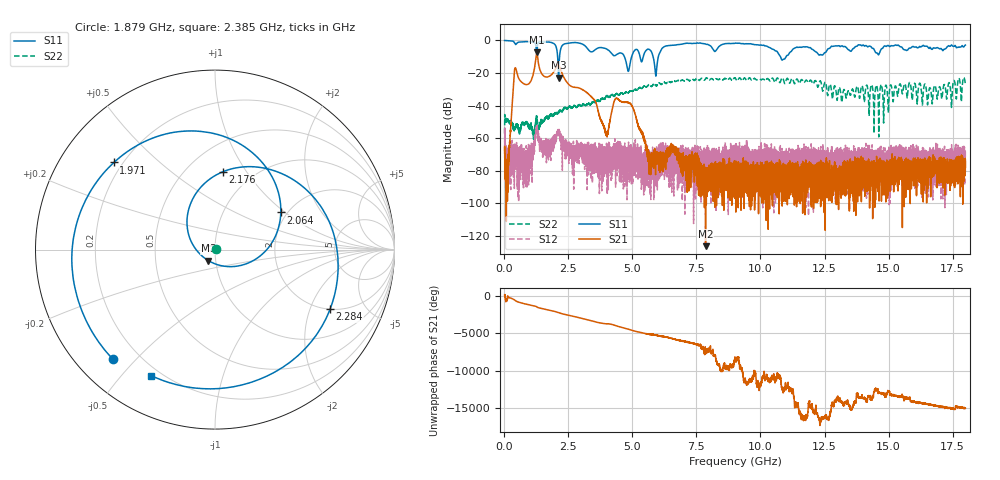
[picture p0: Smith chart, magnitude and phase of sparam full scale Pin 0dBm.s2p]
!Keysight Technologies,N5242B,US61255121,A.15.50.07
!Date: Wednesday, October 01, 2025 17:13:27
!Correction: S11(Cdelta 2-Port  )
!S21(Cdelta 2-Port  )
!S12(Cdelta 2-Port  )
!S22(Cdelta 2-Port  )
!S2P File: Measurements: S11, S21, S12, S22:
# Hz S  dB  R 50
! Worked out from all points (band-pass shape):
!   10001 points, 10 MHz to 18 GHz, reference 50 ohm
!   highest |S21| = -7.46 dB at 1.275 GHz (marker M1); lowest = -126.2 dB at 7.855 GHz (marker M2)
!   |S21| within 3 dB of the highest: 1.237 GHz to 1.3 GHz (63.29 MHz wide, 4.99 % of centre)
!   lowest |S11| = -22.9 dB at 2.117 GHz (marker M3), VSWR 1.15, Z = 46.1 - j5.65 ohm
!   |S11| at or under -10 dB: 4.686 GHz to 4.972 GHz (285.9 MHz wide, 5.92 % of centre); 5.806 GHz to 6.013 GHz (206.6 MHz wide, 3.5 % of centre); 10.78 GHz to 11 GHz (217.5 MHz wide, 2 % of centre)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
!   |S22| runs from -60.6 to -22.8 dB; largest |S21 - S12| = 0.42
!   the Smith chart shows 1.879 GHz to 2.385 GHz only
!   S11 on the Smith chart (normalised r, x): 1.879 GHz: 0.11, -0.43; 1.971 GHz: 0.17, +0.36; 2.064 GHz: 1.85, +0.93; 2.176 GHz: 0.73, +0.78; 2.284 GHz: 2.01, -2.78; 2.385 GHz: 0.16, -0.60
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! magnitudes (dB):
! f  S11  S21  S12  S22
! 10 MHz  -0.1  -69.0  -54.2  -57.1
! 153.9 MHz  -0.3  -78.6  -70.4  -49.4
! 434.6 MHz  -2.6  -16.9  -65.0  -52.4
! 931.1 MHz  -0.9  -26.9  -73.0  -52.1
! 1.275 GHz  -9.7  -7.5  -53.9  -48.7
! 1.879 GHz  -1.6  -20.5  -59.9  -46.3
! 1.971 GHz  -2.6  -18.3  -61.4  -44.4
! 2.064 GHz  -7.5  -15.4  -56.6  -44.8
! 2.117 GHz  -22.9  -15.1  -57.1  -44.1
! 2.176 GHz  -7.2  -17.0  -61.7  -43.1
! 2.284 GHz  -2.8  -21.5  -61.3  -43.3
! 2.385 GHz  -2.1  -24.5  -63.0  -41.3
! 3.009 GHz  -2.1  -29.9  -65.7  -40.4
! 3.98 GHz  -5.2  -57.9  -72.6  -34.5
! 4.342 GHz  -9.2  -35.8  -73.1  -33.3
! 4.909 GHz  -14.2  -38.7  -75.3  -31.2
! 6.008 GHz  -10.3  -74.8  -78.1  -26.5
! 7.855 GHz  -2.3  -126.2  -70.3  -23.6
! 9.005 GHz  -1.8  -91.3  -75.7  -23.0
! 12 GHz  -5.4  -77.4  -73.0  -25.4
! 15 GHz  -3.3  -87.9  -75.3  -41.1
! 18 GHz  -2.9  -74.4  -78.5  -27.1
